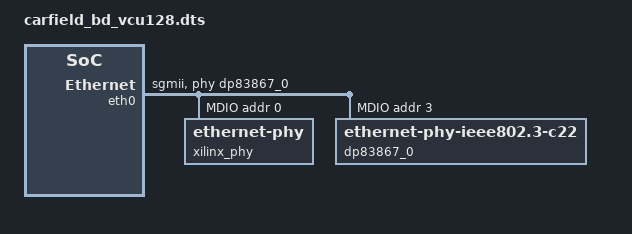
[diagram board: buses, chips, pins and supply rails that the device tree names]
// Copyright 2022 ETH Zurich and University of Bologna.
// Solderpad Hardware License, Version 0.51, see LICENSE for details.
// SPDX-License-Identifier: SHL-0.51
//
// Cyril Koenig <cykoenig@iis.ee.ethz.ch>


/include/ "carfield.dtsi"

&soc {
  eth_dma0: eth_dma@141e00000 {
    #dma-cells = <1>;
    #address-cells = <1>;
    #size-cells = <1>;
    compatible = "xlnx,axi-dma-1.00.a";
    reg = <0x1 0x41e00000 0x0 0x10000>;
    interrupts-extended = <&PLIC0 21 &PLIC0 22>;
    xlnx,addrwidth = <0x40>;
    xlnx,include-sg;
    dma-channel@141e00000 {
      compatible = "xlnx,axi-dma-mm2s-channel";
      reg = <0 0>;
      dma-channels = <0x1>;
      interrupts-extended = <&PLIC0 21>;
      xlnx,datawidth = <0x20>;
      xlnx,device-id = <0x0>;
      xlnx,include-dre ;
    };
    dma-channel@141e00030 {
      compatible = "xlnx,axi-dma-s2mm-channel";
      reg = <0 0>;
      dma-channels = <0x1>;
      interrupts-extended = <&PLIC0 22>;
      xlnx,datawidth = <0x20>;
      xlnx,device-id = <0x0>;
      xlnx,include-dre ;
    };
  };
  eth0: eth0@140c00000 {
    compatible = "xlnx,axi-ethernet-1.00.a";
    reg = <0x1 0x40c00000 0x0 0x40000>;
    // attacked to system clock, provide name for matching
    clocks = <&sysclk>, <&sysclk>;
    clock-names = "s_axi_lite_clk", "axis_clk";
    // interrupt and mac_irq
    interrupts-extended = <&PLIC0 19 &PLIC0 24>;
    //local-mac-address = [ 00 0A 35 04 E1 60 ]; // hero-vcu128-01
    local-mac-address = [ 00 0A 35 07 D5 DD ]; // hero-vcu128-03
    mac-address = [ 00 0A 35 07 D5 DD ];
    device_type = "network";
    axistream-connected = <&eth_dma0>;
    axistream-control-connected = <&eth_dma0>;
    phy-handle = <&dp83867_0>;
    // xlnx,phy-type = <0x4>; // XAE_PHY_TYPE_SGMII. linux: deprecated, use phy-mode
    phy-mode = "sgmii";
    xlnx,phyaddr = <0x0>;
    xlnx,rxcsum = <0x2>; // 0, 1, 2 for no/partial/full offloading
    xlnx,rxmem = <0x1000>;
    xlnx,txcsum = <0x2>; // 0, 1, 2 for no/partial/full offloading
    xlnx,txmem = <0x1000>;

    mdio: mdio {
      #address-cells = <1>;
      #size-cells = <0>;
      // reset-gpios = <&tca6416a 6 GPIO_ACTIVE_LOW>;
      // reset-delay-us = <2>;
      // PCS/PMA PHY
      xilinx_phy: ethernet-phy@0 {
        #phy-cells = <1>;
        device_type = "ethernet-phy";
        reg = <0>;
      };
      // External PHY
      dp83867_0: ethernet-phy@3 {
        compatible = "ethernet-phy-ieee802.3-c22";
        reg = <3>;
        #phy-cells = <1>;
        device_type = "ethernet-phy";
        ti,sgmii-ref-clock-output-enable;
        ti,dp83867-rxctrl-strap-quirk;
      };
    };
  };
};
